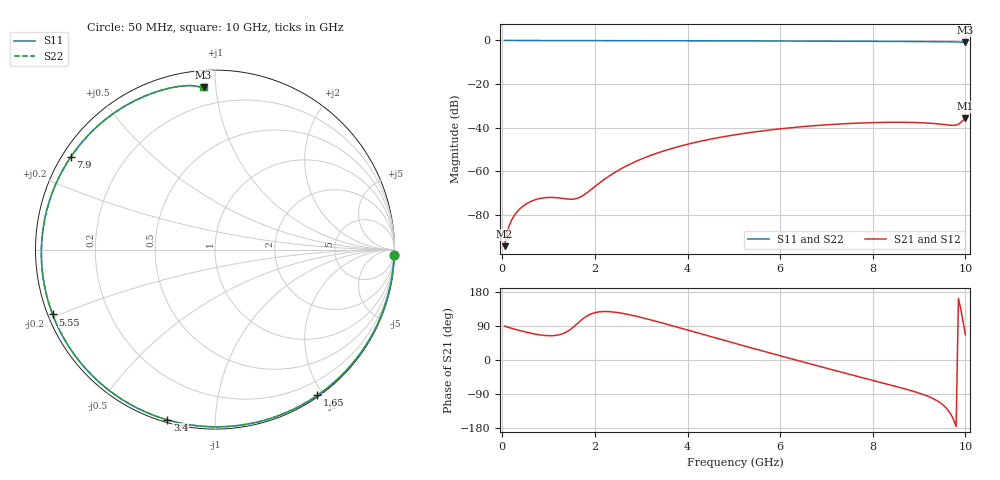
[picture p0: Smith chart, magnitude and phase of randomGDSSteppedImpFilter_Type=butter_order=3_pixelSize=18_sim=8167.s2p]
! freq	dB(S11)	phase(S11)	dB(S12)	phase(S12)
!  dB(S21)	phase(S21)	dB(S22)	phase(S22)
!S-par simulation data
#  GHz  S  DB  R 50
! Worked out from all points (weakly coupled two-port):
!   200 points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, 50 MHz to 10 GHz, reference 50 ohm
!   highest |S21| = -35.79 dB at 10 GHz (marker M1); lowest = -94.5 dB at 50 MHz (marker M2)
!   lowest |S11| = -0.8 dB at 10 GHz (marker M3), VSWR 20.77, Z = 4.49 + j46.4 ohm
!   |S11| at or under -10 dB: nowhere
!   |S22| runs from -0.8 to 0.0 dB; largest |S21 - S12| = 0
!   S11 on the Smith chart (normalised r, x): 50 MHz: 2, -69; 1.65 GHz: 0.02, -1.92; 3.4 GHz: 0.01, -0.76; 5.55 GHz: 0.01, -0.19; 7.9 GHz: 0.02, +0.29; 10 GHz: 0.09, +0.93
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0.05  -0.01 -1.7  -94.49 89.7  -94.49 89.7  -0.01 -1.7
0.25  -0.02 -8.5  -80.68 81.9  -80.68 81.9  -0.02 -8.5
0.5  -0.03 -17.1  -75.31 73.9  -75.31 73.9  -0.03 -17.1
0.8  -0.04 -27.2  -72.64 66.5  -72.64 66.5  -0.04 -27.2
1.05  -0.04 -35.6  -72.09 64.1  -72.09 64.1  -0.04 -35.6
1.5  -0.06 -50.2  -72.94 83.4  -72.94 83.4  -0.06 -50.2
1.65  -0.07 -54.9  -72.27 99.3  -72.27 99.3  -0.07 -54.9
1.75  -0.07 -58.1  -71.13 109.5  -71.13 109.5  -0.07 -58.1
2.25  -0.09 -73.3  -63.10 128.0  -63.10 128.0  -0.09 -73.3
2.55  -0.10 -82.1  -59.13 124.1  -59.13 124.1  -0.10 -82.1
3.4  -0.13 -105.6  -51.34 99.5  -51.34 99.5  -0.13 -105.6
4.25  -0.16 -127.3  -46.43 70.4  -46.43 70.4  -0.16 -127.3
5.05  -0.20 -146.6  -43.25 43.0  -43.25 43.0  -0.20 -146.6
5.55  -0.23 -158.2  -41.73 26.1  -41.73 26.1  -0.23 -158.2
6.7  -0.30 175.4  -39.21 -11.9  -39.21 -11.9  -0.30 175.4
7.3  -0.35 161.6  -38.35 -31.5  -38.35 -31.5  -0.35 161.6
7.9  -0.40 147.4  -37.80 -50.7  -37.80 -50.7  -0.40 147.4
8.35  -0.44 136.4  -37.60 -65.0  -37.60 -65.0  -0.44 136.5
9.1  -0.52 117.4  -37.85 -91.5  -37.85 -91.5  -0.52 117.4
9.75  -0.66 99.8  -38.98 -159.1  -38.98 -159.1  -0.66 99.8
9.85  -0.73 97.0  -38.48 162.5  -38.48 162.5  -0.74 97.0
10  -0.84 94.0  -35.79 66.7  -35.79 66.7  -0.84 94.1
